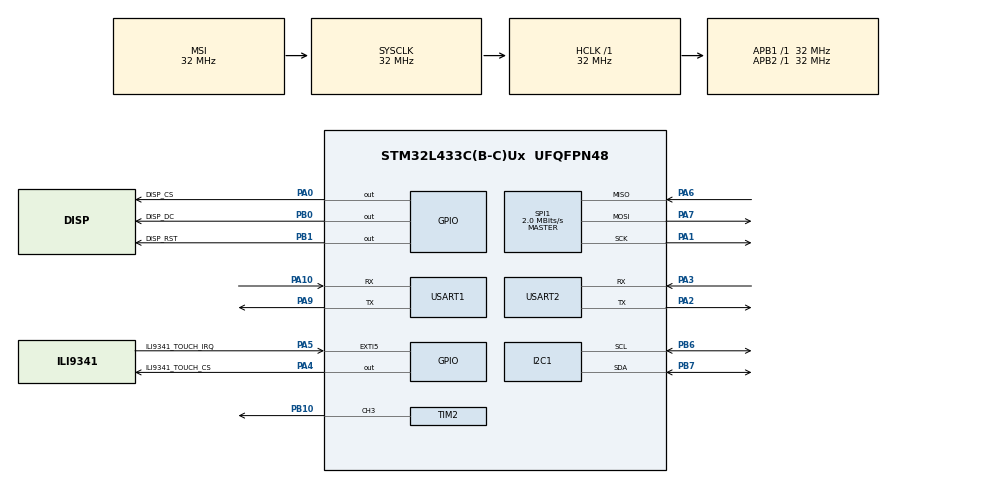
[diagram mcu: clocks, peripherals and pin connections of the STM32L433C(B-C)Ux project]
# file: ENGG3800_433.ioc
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Dma.Request0=SPI1_TX
Dma.SPI1_TX.0.Direction=DMA_MEMORY_TO_PERIPH
Dma.SPI1_TX.0.Instance=DMA1_Channel3
Dma.SPI1_TX.0.MemDataAlignment=DMA_MDATAALIGN_BYTE
Dma.SPI1_TX.0.MemInc=DMA_MINC_ENABLE
Dma.SPI1_TX.0.Mode=DMA_NORMAL
Dma.SPI1_TX.0.PeriphDataAlignment=DMA_PDATAALIGN_BYTE
Dma.SPI1_TX.0.PeriphInc=DMA_PINC_DISABLE
Dma.SPI1_TX.0.Priority=DMA_PRIORITY_LOW
I2C1.Timing=0x00707CBB
Mcu.Family=STM32L4
Mcu.Name=STM32L433C(B-C)Ux
Mcu.Package=UFQFPN48
NVIC.DMA1_Channel3_IRQn=true\:0\:0\:false\:false\:true\:false\:true\:true
NVIC.EXTI9_5_IRQn=true\:0\:0\:false\:false\:true\:true\:true\:true
NVIC.PriorityGroup=NVIC_PRIORITYGROUP_4
NVIC.USART1_IRQn=true\:0\:0\:false\:false\:true\:true\:true\:true
NVIC.USART2_IRQn=true\:0\:0\:false\:false\:true\:true\:true\:true
PA0.GPIO_Label=DISP_CS
PA0.Signal=GPIO_Output
PA1.Mode=Full_Duplex_Master
PA1.Signal=SPI1_SCK
PA10.Mode=Asynchronous
PA10.Signal=USART1_RX
PA13\ (JTMS-SWDIO).Mode=Serial_Wire
PA13\ (JTMS-SWDIO).Signal=SYS_JTMS-SWDIO
PA14\ (JTCK-SWCLK).Mode=Serial_Wire
PA14\ (JTCK-SWCLK).Signal=SYS_JTCK-SWCLK
PA2.Mode=Asynchronous
PA2.Signal=USART2_TX
PA3.Mode=Asynchronous
PA3.Signal=USART2_RX
PA4.GPIO_Label=ILI9341_TOUCH_CS
PA4.Signal=GPIO_Output
PA5.GPIO_Label=ILI9341_TOUCH_IRQ
PA5.GPIO_ModeDefaultEXTI=GPIO_MODE_IT_FALLING
PA5.GPIO_PuPd=GPIO_PULLUP
PA5.Signal=GPXTI5
PA6.Mode=Full_Duplex_Master
PA6.Signal=SPI1_MISO
PA7.Mode=Full_Duplex_Master
PA7.Signal=SPI1_MOSI
PA9.Mode=Asynchronous
PA9.Signal=USART1_TX
PB0.GPIO_Label=DISP_DC
PB0.Signal=GPIO_Output
PB1.GPIO_Label=DISP_RST
PB1.Signal=GPIO_Output
PB10.Signal=S_TIM2_CH3
PB3\ (JTDO-TRACESWO).Signal=SYS_JTDO-SWO
PB6.Mode=I2C
PB6.Signal=I2C1_SCL
PB7.Mode=I2C
PB7.Signal=I2C1_SDA
PH0-OSC_IN\ (PH0).Mode=HSE-External-Oscillator
PH0-OSC_IN\ (PH0).Signal=RCC_OSC_IN
PH1-OSC_OUT\ (PH1).Mode=HSE-External-Oscillator
PH1-OSC_OUT\ (PH1).Signal=RCC_OSC_OUT
ProjectManager.HeapSize=0x200
ProjectManager.StackSize=0x400
ProjectManager.TargetToolchain=STM32CubeIDE
RCC.ADCFreq_Value=128000000
RCC.AHBFreq_Value=32000000
RCC.APB1Freq_Value=32000000
RCC.APB1TimFreq_Value=32000000
RCC.APB2Freq_Value=32000000
RCC.APB2TimFreq_Value=32000000
RCC.CortexFreq_Value=32000000
RCC.HCLKFreq_Value=32000000
RCC.HSE_VALUE=8000000
RCC.HSI48_VALUE=48000000
RCC.HSI_VALUE=16000000
RCC.LSE_VALUE=32768
RCC.MSIClockRange=RCC_MSIRANGE_10
RCC.MSI_VALUE=32000000
RCC.PLLN=86
RCC.PLLR=RCC_PLLR_DIV6
RCC.SYSCLKFreq_VALUE=32000000
RCC.USBFreq_Value=128000000
RCC.VCOOutputFreq_Value=2752000000
SH.S_TIM2_CH3.0=TIM2_CH3,PWM Generation3 CH3
SPI1.BaudRatePrescaler=SPI_BAUDRATEPRESCALER_16
SPI1.CalculateBaudRate=2.0 MBits/s
SPI1.DataSize=SPI_DATASIZE_8BIT
SPI1.Direction=SPI_DIRECTION_2LINES
SPI1.Mode=SPI_MODE_MASTER
SPI1.VirtualType=VM_MASTER
TIM2.AutoReloadPreload=TIM_AUTORELOAD_PRELOAD_ENABLE
TIM2.Channel-PWM\ Generation3\ CH3=TIM_CHANNEL_3
TIM2.Period=25
USART1.VirtualMode-Asynchronous=VM_ASYNC
USART2.VirtualMode-Asynchronous=VM_ASYNC
VP_TIM2_VS_ClockSourceINT.Mode=Internal
board=custom

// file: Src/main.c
/* USER CODE BEGIN Header */
/**
  ******************************************************************************
  * @file           : main.c
  * @brief          : Main program body
  ******************************************************************************
  * @attention
  *
  * Copyright (c) 2022 STMicroelectronics.
  * All rights reserved.
  *
  * This software is licensed under terms that can be found in the LICENSE file
  * in the root directory of this software component.
  * If no LICENSE file comes with this software, it is provided AS-IS.
  *
  ******************************************************************************
  */
/* USER CODE END Header */
#include "main.h"

/* USER CODE BEGIN Includes */
#include "ili9163.h"
#include "ili9341_touch.h"
#include "display.h"
#include "L433_ADC.h"
#include <string.h>
#include <stdio.h>

/* USER CODE END Includes */

I2C_HandleTypeDef hi2c1;

SPI_HandleTypeDef hspi1;
DMA_HandleTypeDef hdma_spi1_tx;

TIM_HandleTypeDef htim2;

UART_HandleTypeDef huart1;
UART_HandleTypeDef huart2;

/* USER CODE BEGIN PV */
uint8_t SPI_DMA_FL = 0;
uint32_t SPI_DMA_CNT=1;
uint16_t x = 0;
uint16_t y = 0;
uint8_t touchProcessing = 0;
uint16_t lastTick = 0;
/* USER CODE END PV */

void SystemClock_Config(void);
static void MX_GPIO_Init(void);
static void MX_DMA_Init(void);
static void MX_SPI1_Init(void);
static void MX_USART2_UART_Init(void);
static void MX_USART1_UART_Init(void);
static void MX_TIM2_Init(void);
static void MX_I2C1_Init(void);

/* USER CODE BEGIN 0 */

void hardware_init(ScreenData* screenData) {

	init_screen(screenData);
	HAL_TIM_PWM_Start(&htim2, TIM_CHANNEL_3);
	__HAL_TIM_SET_COMPARE(&htim2, TIM_CHANNEL_3, screenData->dutyCycle);

}

void display_screen(ScreenData* screenData) {

	ILI9163_newFrame();

	if (screenData->frame == WEIGHTING) {

		  weighting_mode(screenData);
		  brightnessButton();
	  } else if (screenData->frame == COUNTING) {

		  counting_mode(screenData);
		  brightnessButton();
	  } else if(screenData->frame == PASS) {

		  pass_mode(screenData);
		  brightnessButton();
	  } else if (screenData->frame == MENU) {

		  mode_select();
		  brightnessButton();
	  } else if (screenData->frame == KEYBOARD) {

		  keyboard(screenData);
		  brightnessButton();
	  } else if(screenData->frame == CALIBRATION) {

		  calibration(screenData);
		  brightnessButton();
	  }
	  ILI9163_render();
}

/* USER CODE END 0 */

int main(void)
{

  /* MCU Configuration--------------------------------------------------------*/

  /* Reset of all peripherals, Initializes the Flash interface and the Systick. */
  HAL_Init();

  /* USER CODE BEGIN Init */

  ScreenData screenData;
  /* USER CODE END Init */

  /* Configure the system clock */
  SystemClock_Config();

  /* Initialize all configured peripherals */
  MX_GPIO_Init();
  MX_DMA_Init();
  MX_SPI1_Init();
  MX_USART2_UART_Init();
  MX_USART1_UART_Init();
  MX_TIM2_Init();
  MX_I2C1_Init();
  /* USER CODE BEGIN 2 */
  hardware_init(&screenData);
  HAL_TIM_PWM_Start(&htim2, TIM_CHANNEL_3);

  ILI9163_init(1); // Flipped landscape
  ADC_Init(&hi2c1);

  char message[12];
  float weight;
  uint32_t weight_int;
  uint32_t value;
  uint32_t offset_value;

  HAL_Delay(500);

  uint32_t zero;
  uint32_t offset;

  zero = ADC_Read(&hi2c1); //Read an initial value
  offset = zero - zero*0.001;// Zero value plus 0.1% of the zero value

  HAL_Delay(500);
  /* USER CODE END 2 */

  /* Infinite loop */
  while (1)
  {

    /* USER CODE BEGIN 3 */
	  value = ADC_Read(&hi2c1);
	//200: 405, 500: 405
	//offset_value = value - offset;
	weight = calc_Weight(value, offset);
	//weight_int = (int)weight;
	screenData.weight = (int)weight;
//	sprintf(message, "VALUE: %d\r\n\n", weight_int);
//	HAL_UART_Transmit(&huart1, message, strlen(message), HAL_MAX_DELAY);
	if(touchProcessing == 1)
	{
	  touchProcessing = 0;
	  ILI9341_TouchGetCoordinates(&y, &x);
	  screenData.xValue = x;
	  screenData.yValue = 128 - y;
	  //ILI9163_drawRect(1, 1, 75, 75, 3, RED);
	  //ILI9163_drawCircle(screenData.xValue, screenData.yValue, 10, RED);
	  touchProcess(&htim2, &screenData);

	}

	display_screen(&screenData);
	HAL_Delay(100);
  }
  /* USER CODE END 3 */
}

void SystemClock_Config(void)
{
  RCC_OscInitTypeDef RCC_OscInitStruct = {0};
  RCC_ClkInitTypeDef RCC_ClkInitStruct = {0};

  /** Configure the main internal regulator output voltage
  */
  if (HAL_PWREx_ControlVoltageScaling(PWR_REGULATOR_VOLTAGE_SCALE1) != HAL_OK)
  {
    Error_Handler();
  }

  /** Initializes the RCC Oscillators according to the specified parameters
  * in the RCC_OscInitTypeDef structure.
  */
  RCC_OscInitStruct.OscillatorType = RCC_OSCILLATORTYPE_MSI;
  RCC_OscInitStruct.MSIState = RCC_MSI_ON;
  RCC_OscInitStruct.MSICalibrationValue = 0;
  RCC_OscInitStruct.MSIClockRange = RCC_MSIRANGE_10;
  RCC_OscInitStruct.PLL.PLLState = RCC_PLL_NONE;
  if (HAL_RCC_OscConfig(&RCC_OscInitStruct) != HAL_OK)
  {
    Error_Handler();
  }

  /** Initializes the CPU, AHB and APB buses clocks
  */
  RCC_ClkInitStruct.ClockType = RCC_CLOCKTYPE_HCLK|RCC_CLOCKTYPE_SYSCLK
                              |RCC_CLOCKTYPE_PCLK1|RCC_CLOCKTYPE_PCLK2;
  RCC_ClkInitStruct.SYSCLKSource = RCC_SYSCLKSOURCE_MSI;
  RCC_ClkInitStruct.AHBCLKDivider = RCC_SYSCLK_DIV1;
  RCC_ClkInitStruct.APB1CLKDivider = RCC_HCLK_DIV1;
  RCC_ClkInitStruct.APB2CLKDivider = RCC_HCLK_DIV1;

  if (HAL_RCC_ClockConfig(&RCC_ClkInitStruct, FLASH_LATENCY_1) != HAL_OK)
  {
    Error_Handler();
  }
}

static void MX_I2C1_Init(void)
{

  hi2c1.Instance = I2C1;
  hi2c1.Init.Timing = 0x00707CBB;
  hi2c1.Init.OwnAddress1 = 0;
  hi2c1.Init.AddressingMode = I2C_ADDRESSINGMODE_7BIT;
  hi2c1.Init.DualAddressMode = I2C_DUALADDRESS_DISABLE;
  hi2c1.Init.OwnAddress2 = 0;
  hi2c1.Init.OwnAddress2Masks = I2C_OA2_NOMASK;
  hi2c1.Init.GeneralCallMode = I2C_GENERALCALL_DISABLE;
  hi2c1.Init.NoStretchMode = I2C_NOSTRETCH_DISABLE;
  if (HAL_I2C_Init(&hi2c1) != HAL_OK)
  {
    Error_Handler();
  }

  /** Configure Analogue filter
  */
  if (HAL_I2CEx_ConfigAnalogFilter(&hi2c1, I2C_ANALOGFILTER_ENABLE) != HAL_OK)
  {
    Error_Handler();
  }

  /** Configure Digital filter
  */
  if (HAL_I2CEx_ConfigDigitalFilter(&hi2c1, 0) != HAL_OK)
  {
    Error_Handler();
  }

}

static void MX_SPI1_Init(void)
{

  /* SPI1 parameter configuration*/
  hspi1.Instance = SPI1;
  hspi1.Init.Mode = SPI_MODE_MASTER;
  hspi1.Init.Direction = SPI_DIRECTION_2LINES;
  hspi1.Init.DataSize = SPI_DATASIZE_8BIT;
  hspi1.Init.CLKPolarity = SPI_POLARITY_LOW;
  hspi1.Init.CLKPhase = SPI_PHASE_1EDGE;
  hspi1.Init.NSS = SPI_NSS_SOFT;
  hspi1.Init.BaudRatePrescaler = SPI_BAUDRATEPRESCALER_16;
  hspi1.Init.FirstBit = SPI_FIRSTBIT_MSB;
  hspi1.Init.TIMode = SPI_TIMODE_DISABLE;
  hspi1.Init.CRCCalculation = SPI_CRCCALCULATION_DISABLE;
  hspi1.Init.CRCPolynomial = 7;
  hspi1.Init.CRCLength = SPI_CRC_LENGTH_DATASIZE;
  hspi1.Init.NSSPMode = SPI_NSS_PULSE_ENABLE;
  if (HAL_SPI_Init(&hspi1) != HAL_OK)
  {
    Error_Handler();
  }

}

static void MX_TIM2_Init(void)
{

  TIM_ClockConfigTypeDef sClockSourceConfig = {0};
  TIM_MasterConfigTypeDef sMasterConfig = {0};
  TIM_OC_InitTypeDef sConfigOC = {0};

  htim2.Instance = TIM2;
  htim2.Init.Prescaler = 0;
  htim2.Init.CounterMode = TIM_COUNTERMODE_UP;
  htim2.Init.Period = 25;
  htim2.Init.ClockDivision = TIM_CLOCKDIVISION_DIV1;
  htim2.Init.AutoReloadPreload = TIM_AUTORELOAD_PRELOAD_ENABLE;
  if (HAL_TIM_Base_Init(&htim2) != HAL_OK)
  {
    Error_Handler();
  }
  sClockSourceConfig.ClockSource = TIM_CLOCKSOURCE_INTERNAL;
  if (HAL_TIM_ConfigClockSource(&htim2, &sClockSourceConfig) != HAL_OK)
  {
    Error_Handler();
  }
  if (HAL_TIM_PWM_Init(&htim2) != HAL_OK)
  {
    Error_Handler();
  }
  sMasterConfig.MasterOutputTrigger = TIM_TRGO_RESET;
  sMasterConfig.MasterSlaveMode = TIM_MASTERSLAVEMODE_DISABLE;
  if (HAL_TIMEx_MasterConfigSynchronization(&htim2, &sMasterConfig) != HAL_OK)
  {
    Error_Handler();
  }
  sConfigOC.OCMode = TIM_OCMODE_PWM1;
  sConfigOC.Pulse = 0;
  sConfigOC.OCPolarity = TIM_OCPOLARITY_HIGH;
  sConfigOC.OCFastMode = TIM_OCFAST_DISABLE;
  if (HAL_TIM_PWM_ConfigChannel(&htim2, &sConfigOC, TIM_CHANNEL_3) != HAL_OK)
  {
    Error_Handler();
  }
  HAL_TIM_MspPostInit(&htim2);

}

static void MX_USART1_UART_Init(void)
{

  huart1.Instance = USART1;
  huart1.Init.BaudRate = 115200;
  huart1.Init.WordLength = UART_WORDLENGTH_8B;
  huart1.Init.StopBits = UART_STOPBITS_1;
  huart1.Init.Parity = UART_PARITY_NONE;
  huart1.Init.Mode = UART_MODE_TX_RX;
  huart1.Init.HwFlowCtl = UART_HWCONTROL_NONE;
  huart1.Init.OverSampling = UART_OVERSAMPLING_16;
  huart1.Init.OneBitSampling = UART_ONE_BIT_SAMPLE_DISABLE;
  huart1.AdvancedInit.AdvFeatureInit = UART_ADVFEATURE_NO_INIT;
  if (HAL_UART_Init(&huart1) != HAL_OK)
  {
    Error_Handler();
  }

}

static void MX_USART2_UART_Init(void)
{

  huart2.Instance = USART2;
  huart2.Init.BaudRate = 115200;
  huart2.Init.WordLength = UART_WORDLENGTH_8B;
  huart2.Init.StopBits = UART_STOPBITS_1;
  huart2.Init.Parity = UART_PARITY_NONE;
  huart2.Init.Mode = UART_MODE_TX_RX;
  huart2.Init.HwFlowCtl = UART_HWCONTROL_NONE;
  huart2.Init.OverSampling = UART_OVERSAMPLING_16;
  huart2.Init.OneBitSampling = UART_ONE_BIT_SAMPLE_DISABLE;
  huart2.AdvancedInit.AdvFeatureInit = UART_ADVFEATURE_NO_INIT;
  if (HAL_UART_Init(&huart2) != HAL_OK)
  {
    Error_Handler();
  }

}

static void MX_DMA_Init(void)
{

  /* DMA controller clock enable */
  __HAL_RCC_DMA1_CLK_ENABLE();

  /* DMA interrupt init */
  /* DMA1_Channel3_IRQn interrupt configuration */
  HAL_NVIC_SetPriority(DMA1_Channel3_IRQn, 0, 0);
  HAL_NVIC_EnableIRQ(DMA1_Channel3_IRQn);

}

static void MX_GPIO_Init(void)
{
  GPIO_InitTypeDef GPIO_InitStruct = {0};

  /* GPIO Ports Clock Enable */
  __HAL_RCC_GPIOH_CLK_ENABLE();
  __HAL_RCC_GPIOA_CLK_ENABLE();
  __HAL_RCC_GPIOB_CLK_ENABLE();

  /*Configure GPIO pin Output Level */
  HAL_GPIO_WritePin(GPIOA, DISP_CS_Pin|ILI9341_TOUCH_CS_Pin, GPIO_PIN_RESET);

  /*Configure GPIO pin Output Level */
  HAL_GPIO_WritePin(GPIOB, DISP_DC_Pin|DISP_RST_Pin, GPIO_PIN_RESET);

  /*Configure GPIO pins : DISP_CS_Pin ILI9341_TOUCH_CS_Pin */
  GPIO_InitStruct.Pin = DISP_CS_Pin|ILI9341_TOUCH_CS_Pin;
  GPIO_InitStruct.Mode = GPIO_MODE_OUTPUT_PP;
  GPIO_InitStruct.Pull = GPIO_NOPULL;
  GPIO_InitStruct.Speed = GPIO_SPEED_FREQ_LOW;
  HAL_GPIO_Init(GPIOA, &GPIO_InitStruct);

  /*Configure GPIO pin : ILI9341_TOUCH_IRQ_Pin */
  GPIO_InitStruct.Pin = ILI9341_TOUCH_IRQ_Pin;
  GPIO_InitStruct.Mode = GPIO_MODE_IT_FALLING;
  GPIO_InitStruct.Pull = GPIO_PULLUP;
  HAL_GPIO_Init(ILI9341_TOUCH_IRQ_GPIO_Port, &GPIO_InitStruct);

  /*Configure GPIO pins : DISP_DC_Pin DISP_RST_Pin */
  GPIO_InitStruct.Pin = DISP_DC_Pin|DISP_RST_Pin;
  GPIO_InitStruct.Mode = GPIO_MODE_OUTPUT_PP;
  GPIO_InitStruct.Pull = GPIO_NOPULL;
  GPIO_InitStruct.Speed = GPIO_SPEED_FREQ_LOW;
  HAL_GPIO_Init(GPIOB, &GPIO_InitStruct);

  /* EXTI interrupt init*/
  HAL_NVIC_SetPriority(EXTI9_5_IRQn, 0, 0);
  HAL_NVIC_EnableIRQ(EXTI9_5_IRQn);

}

/* USER CODE BEGIN 4 */

void HAL_SPI_TxCpltCallback(SPI_HandleTypeDef *hspi) // Your TxCpltCallback
{
	SPI_DMA_CNT--;
	if(SPI_DMA_CNT==0)
	{
		HAL_SPI_DMAStop(&hspi1);
		SPI_DMA_CNT=1;
		SPI_DMA_FL=1;
	}
}

void HAL_GPIO_EXTI_Callback(uint16_t GPIO_Pin) {

	if (GPIO_Pin == ILI9341_TOUCH_IRQ_Pin) {

		if(ILI9341_TouchPressed()) {

			if ((HAL_GetTick() - lastTick) >= 300) {

				touchProcessing = 1;
			}
			lastTick = HAL_GetTick();
		}
	}
}

/* USER CODE END 4 */

void Error_Handler(void)
{
  __disable_irq();
  while (1)
  {
  }
}
